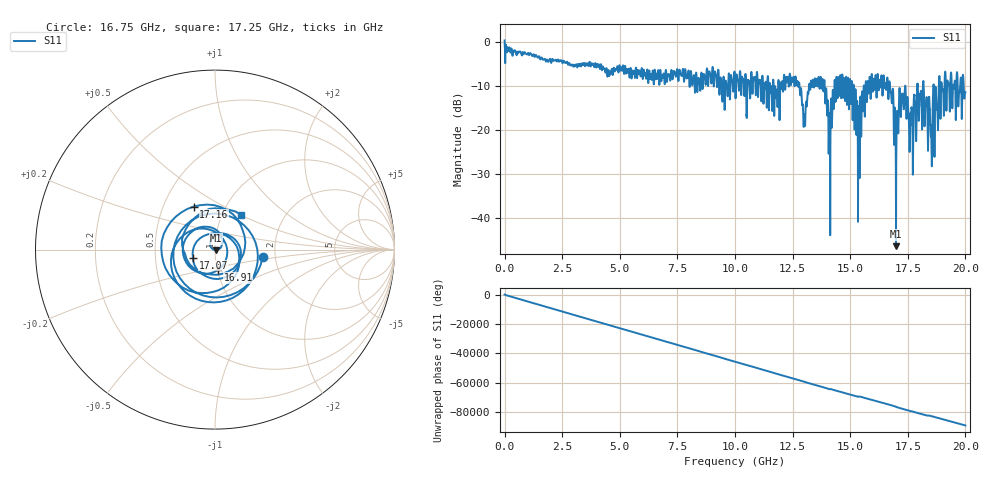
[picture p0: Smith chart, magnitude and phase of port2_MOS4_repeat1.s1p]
! MS46122B
! 2250307/22442219
! 7/27/2025 9:25:11 AM
! C:\USERS\SPARKY\DOCUMENTS\VNA_DATA\JULY27_2025\3K\PORT2_MOS4_REPEAT1.S1P
! CHANNEL.1
! TR.MEASUREMENT
! RAW.DATA
# GHZ S RI R 50.0
! FREQ.GHZ  S11RE  S11IM
!; PortSelection: Port_1
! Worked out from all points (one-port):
!   10001 points, 1 MHz to 20 GHz, reference 50 ohm
!   lowest |S11| = -46.5 dB at 16.99 GHz (marker M1), VSWR 1.01, Z = 50.4 - j0.295 ohm
!   |S11| at or under -10 dB: 15.16 GHz to 15.59 GHz (428.4 MHz wide, 2.79 % of centre); 16.73 GHz to 17.39 GHz (660.6 MHz wide, 3.87 % of centre); 17.39 GHz to 17.91 GHz (515.6 MHz wide, 2.92 % of centre) (the widest 3 of 84)
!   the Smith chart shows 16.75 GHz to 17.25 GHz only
!   S11 on the Smith chart (normalised r, x): 16.75 GHz: 1.71, -0.16; 16.91 GHz: 1.01, -0.23; 17.07 GHz: 0.78, -0.07; 17.16 GHz: 0.71, +0.37; 17.25 GHz: 1.22, +0.51
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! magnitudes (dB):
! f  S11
! 1 MHz  0.4
! 2.501 GHz  -4.6
! 5.001 GHz  -5.5
! 7.501 GHz  -6.2
! 10 GHz  -8.4
! 11.86 GHz  -12.4
! 12.5 GHz  -9.1
! 12.79 GHz  -9.3
! 13.02 GHz  -16.9
! 13.3 GHz  -8.8
! 13.8 GHz  -8.4
! 14.12 GHz  -23.2
! 14.41 GHz  -7.9
! 15 GHz  -9.0
! 15.35 GHz  -24.8
! 15.85 GHz  -8.1
! 16.75 GHz  -11.4
! 16.91 GHz  -18.8
! 16.99 GHz  -46.5
! 17.07 GHz  -17.6
! 17.16 GHz  -11.5
! 17.25 GHz  -12.3
! 17.5 GHz  -13.6
! 17.64 GHz  -16.8
! 18.11 GHz  -16.6
! 18.47 GHz  -18.5
! 18.94 GHz  -11.9
! 20 GHz  -11.4
